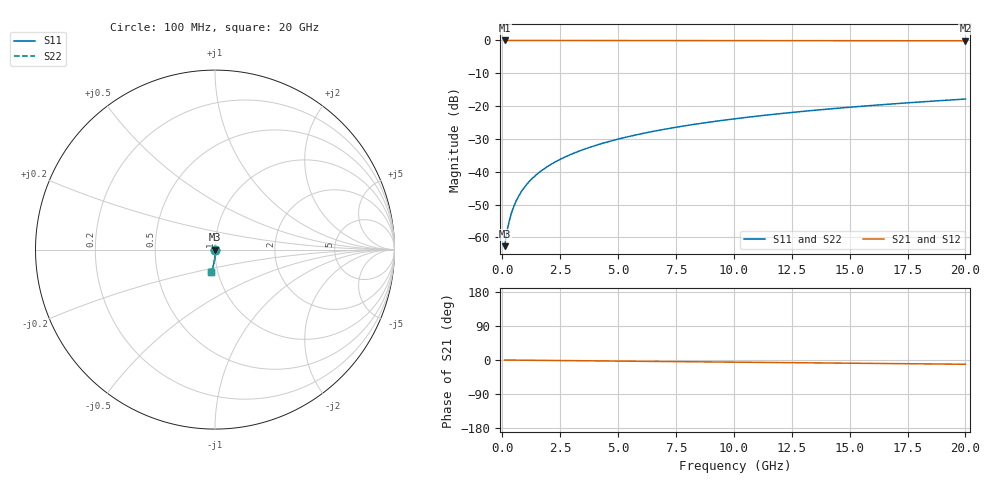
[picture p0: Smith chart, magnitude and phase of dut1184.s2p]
! Touchstone file exported from HFSS 2026.1.0
!  File:  C:/ffzhzh/LocalFiles/Ansys_Project_Files/temp_train_TSV_1184_1783192285_51560.aedt
!  Generated:  03:12:48 AM Jul  5, 2026
!  Design:  TSV
!  Project:  temp_train_TSV_1184_1783192285_51560
! Variables:
!  h_bsmrdl = 2um
!  h_ox = 20um
!  h_rdl = 5um
!  h_sub = 91.64um
!  h_tmrdl = 5um
!  h_tsv = 91.64um
!  h_via = 3um
!  l_bsmrdl = 300um
!  l_sub = 409.6um
!  l_tmrdl = 200um
!  m_sub = 200um
!  pitch = 11.25um
!  r_tsv = 4.8um
!  s_tmrdl = 10um
!  w_bsmrdl = 18um
!  w_sub = 500um
!  w_tmrdl = 12um
!  x_tsv_center1 = 206um
!  x_tsv_center2 = 524um
!  x_tsv_center3 = 736um
!  x_tsv_center4 = 1054um
!  x_tsv_center5 = 1266um
!  x_tsv_center6 = 1584um
# GHz S MA R 50.000000
! Terminal data exported
! Port[1] = TSV1_1_T1
! Port[2] = TSV1_1_T2
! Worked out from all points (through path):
!   200 points, 100 MHz to 20 GHz, reference 50 ohm
!   highest |S21| = 0.00 dB at 100 MHz (marker M1); lowest = -0.1 dB at 20 GHz (marker M2)
!   group delay of S21, straight-line fit = 1.55 ps
!   lowest |S11| = -62.7 dB at 100 MHz (marker M3), VSWR 1.00, Z = 50.1 - j0.0532 ohm
!   |S11| at or under -10 dB: start of sweep to end of sweep
!   |S22| runs from -62.7 to -17.9 dB; largest |S21 - S12| = 3.3e-15
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0.1  0.0007341 -46.4  0.9995 -0.1  0.9995 -0.1  0.0007341 -46.4
! Gamma 0 0 0 0
! Port Impedance 50 0 50 0
0.2  0.00122 -62.9  0.9994 -0.1  0.9994 -0.1  0.00122 -62.9
0.3  0.001778 -69.9  0.9994 -0.2  0.9994 -0.2  0.001778 -69.9
0.4  0.002369 -73.8  0.9993 -0.2  0.9993 -0.2  0.002369 -73.8
0.5  0.002976 -76.4  0.9993 -0.3  0.9993 -0.3  0.002976 -76.4
0.7  0.004209 -79.7  0.9992 -0.4  0.9992 -0.4  0.004209 -79.7
0.8  0.004829 -80.8  0.9992 -0.5  0.9992 -0.5  0.004829 -80.8
1  0.006072 -82.5  0.9991 -0.6  0.9991 -0.6  0.006072 -82.5
1.2  0.007315 -83.6  0.9991 -0.7  0.9991 -0.7  0.007315 -83.6
1.4  0.00856 -84.5  0.999 -0.8  0.999 -0.8  0.00856 -84.5
1.7  0.01043 -85.5  0.9989 -1.0  0.9989 -1.0  0.01043 -85.5
2  0.0123 -86.2  0.9988 -1.2  0.9988 -1.2  0.0123 -86.2
2.7  0.0167 -87.3  0.9986 -1.6  0.9986 -1.6  0.0167 -87.3
3.5  0.02178 -88.2  0.9983 -2.0  0.9983 -2.0  0.02178 -88.2
4.2  0.02625 -88.9  0.998 -2.4  0.998 -2.4  0.02625 -88.9
5  0.03139 -89.6  0.9977 -2.9  0.9977 -2.9  0.03139 -89.6
6.8  0.04304 -90.9  0.9969 -3.9  0.9969 -3.9  0.04304 -90.9
8.3  0.05277 -92.0  0.9961 -4.7  0.9961 -4.7  0.05277 -92.0
10.1  0.06444 -93.3  0.9952 -5.7  0.9952 -5.7  0.06444 -93.3
13.4  0.08577 -95.4  0.9931 -7.6  0.9931 -7.6  0.08577 -95.4
16.7  0.107 -97.5  0.9906 -9.4  0.9906 -9.4  0.107 -97.5
20  0.128 -99.4  0.9877 -11.2  0.9877 -11.2  0.128 -99.4
